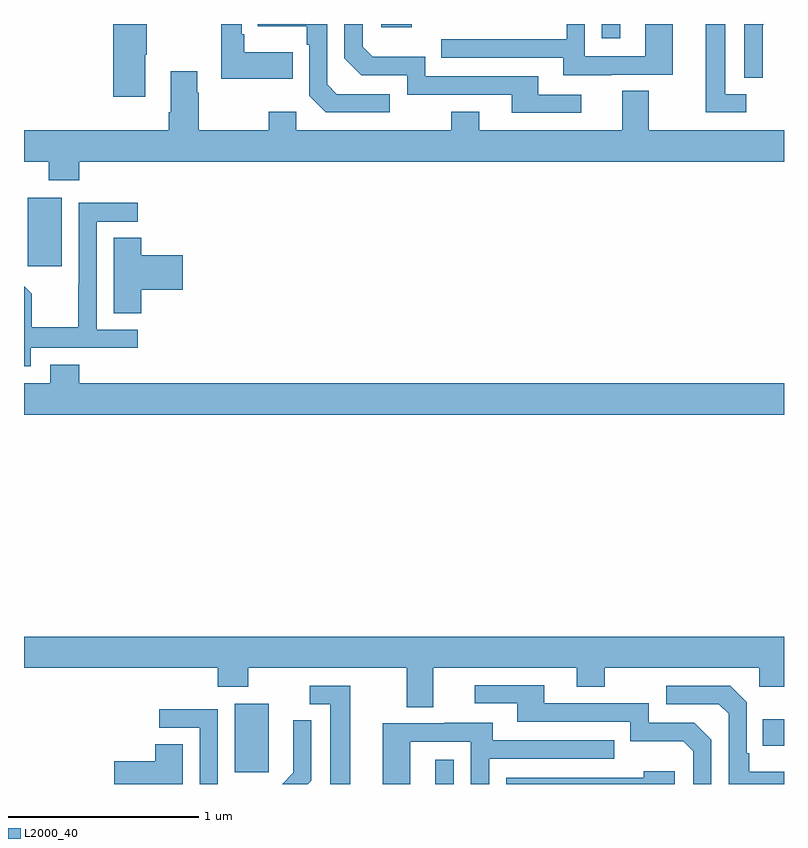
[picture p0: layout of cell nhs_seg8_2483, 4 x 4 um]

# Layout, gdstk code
import gdstk
lib = gdstk.Library(unit=1e-6, precision=1e-09)
def R(c, l, rs):  # rectangles x0, y0, x1, y1
    for r in rs: c.add(gdstk.rectangle(r[:2], r[2:], *l))
def P(c, l, *ps):  # polygons
    for p in ps: c.add(gdstk.Polygon(p, *l))
L2000_40 = (2000, 40)

nhs_seg8_2483 = lib.new_cell('nhs_seg8_2483')
R(nhs_seg8_2483, L2000_40, [(269.165,1103.9,269.262,1104.028), (268.109,1103.961,268.288,1104.322), (270.889,1104.101,271,1104.241), (267.02,1106.625,267.199,1106.986), (270.042,1107.825,270.139,1107.9), (268.881,1107.884,269.042,1107.9)])
P(nhs_seg8_2483, L2000_40, [(269.932,1107.528),(269.707,1107.528),(269.707,1107.624),(269.112,1107.624),(269.112,1107.727),(268.835,1107.727),(268.782,1107.78),(268.782,1107.9),(268.686,1107.9),(268.686,1107.72),(268.776,1107.63),(269.016,1107.63),(269.016,1107.528),(269.567,1107.528),(269.567,1107.432),(269.932,1107.432)],
  [(270.802,1107.531),(270.691,1107.531),(270.691,1107.9),(270.587,1107.9),(270.587,1107.435),(270.802,1107.435)],
  [(268.924,1107.531),(268.647,1107.531),(268.596,1107.582),(268.596,1107.9),(268.231,1107.9),(268.231,1107.887),(268.488,1107.887),(268.488,1107.791),(268.5,1107.791),(268.5,1107.522),(268.587,1107.435),(268.924,1107.435)],
  [(267.637,1107.739),(267.645,1107.739),(267.645,1107.9),(267.47,1107.9),(267.47,1107.516),(267.637,1107.516)],
  [(270.091,1107.633),(270.415,1107.633),(270.415,1107.9),(270.27,1107.9),(270.27,1107.729),(269.952,1107.729),(269.952,1107.9),(269.856,1107.9),(269.856,1107.819),(269.197,1107.819),(269.197,1107.723),(269.837,1107.723),(269.837,1107.629),(270.091,1107.629)],
  [(270.888,1107.77),(270.887,1107.77),(270.887,1107.893),(270.894,1107.9),(270.792,1107.9),(270.792,1107.616),(270.888,1107.616)],
  [(268.415,1107.751),(268.159,1107.751),(268.159,1107.847),(268.146,1107.847),(268.146,1107.9),(268.038,1107.9),(268.038,1107.611),(268.415,1107.611)],
  [(267.29,1107.176),(271,1107.176),(271,1107.34),(270.289,1107.34),(270.289,1107.548),(270.149,1107.548),(270.149,1107.34),(269.395,1107.34),(269.395,1107.439),(269.248,1107.439),(269.248,1107.34),(268.434,1107.34),(268.434,1107.439),(268.288,1107.439),(268.288,1107.34),(267.921,1107.34),(267.921,1107.539),(267.913,1107.539),(267.913,1107.652),(267.773,1107.652),(267.773,1107.436),(267.761,1107.436),(267.761,1107.34),(267,1107.34),(267,1107.176),(267.13,1107.176),(267.13,1107.077),(267.29,1107.077)],
  [(267.036,1106.196),(267.598,1106.196),(267.598,1106.292),(267.384,1106.292),(267.384,1106.859),(267.598,1106.859),(267.598,1106.958),(267.288,1106.958),(267.288,1106.528),(267.286,1106.528),(267.286,1106.305),(267.041,1106.305),(267.041,1106.479),(267,1106.52),(267,1106.099),(267.036,1106.099)],
  [(267.617,1106.501),(267.835,1106.501),(267.835,1106.684),(267.617,1106.684),(267.617,1106.774),(267.473,1106.774),(267.473,1106.377),(267.617,1106.377)],
  [(271,1106.008),(267.29,1106.008),(267.29,1106.107),(267.137,1106.107),(267.137,1106.008),(267,1106.008),(267,1105.844),(271,1105.844)],
  [(269.155,1104.512),(269.909,1104.512),(269.909,1104.413),(270.057,1104.413),(270.057,1104.512),(270.87,1104.512),(270.87,1104.413),(271,1104.413),(271,1104.676),(267,1104.676),(267,1104.512),(268.019,1104.512),(268.019,1104.413),(268.179,1104.413),(268.179,1104.512),(269.015,1104.512),(269.015,1104.304),(269.155,1104.304)],
  [(270.618,1104.132),(270.528,1104.222),(270.288,1104.222),(270.288,1104.324),(269.737,1104.324),(269.737,1104.42),(269.373,1104.42),(269.373,1104.324),(269.597,1104.324),(269.597,1104.228),(270.192,1104.228),(270.192,1104.125),(270.469,1104.125),(270.522,1104.072),(270.522,1103.9),(270.618,1103.9)],
  [(271,1103.965),(270.817,1103.965),(270.817,1104.061),(270.804,1104.061),(270.804,1104.33),(270.717,1104.417),(270.381,1104.417),(270.381,1104.321),(270.657,1104.321),(270.708,1104.27),(270.708,1103.9),(271,1103.9)],
  [(268.717,1104.417),(268.503,1104.417),(268.503,1104.321),(268.613,1104.321),(268.613,1103.9),(268.717,1103.9)],
  [(268.02,1104.294),(267.711,1104.294),(267.711,1104.195),(267.924,1104.195),(267.924,1103.9),(268.02,1103.9)],
  [(268.512,1103.918),(268.512,1104.236),(268.416,1104.236),(268.416,1104.082),(268.418,1104.082),(268.418,1103.96),(268.358,1103.9),(268.494,1103.9)],
  [(269.034,1104.123),(269.352,1104.123),(269.352,1103.9),(269.448,1103.9),(269.448,1104.033),(270.107,1104.033),(270.107,1104.129),(269.467,1104.129),(269.467,1104.223),(269.213,1104.223),(269.213,1104.219),(268.889,1104.219),(268.889,1103.9),(269.034,1103.9)],
  [(267.835,1104.11),(267.692,1104.11),(267.692,1104.02),(267.474,1104.02),(267.474,1103.9),(267.835,1103.9)],
  [(270.424,1103.968),(270.263,1103.968),(270.263,1103.934),(269.538,1103.934),(269.538,1103.9),(270.424,1103.9)])

lib.write_gds('nhs_seg8_2483.gds')
